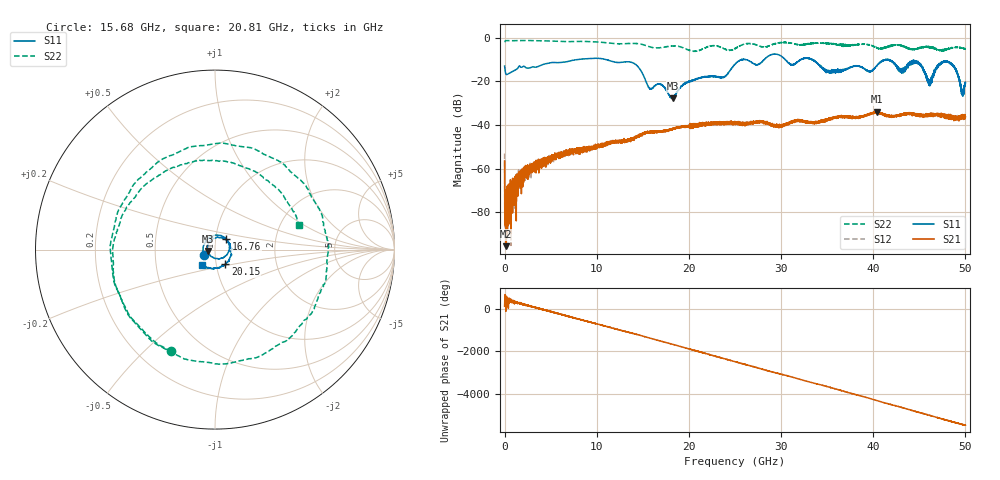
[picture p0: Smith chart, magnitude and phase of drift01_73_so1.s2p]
!Created with skrf (http://scikit-rf.org).
# Hz S RI R 50.0
!freq ReS11 ImS11 ReS21 ImS21 ReS12 ImS12 ReS22 ImS22
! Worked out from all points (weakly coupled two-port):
!   10001 points, 300 kHz to 50 GHz, reference 50 ohm
!   highest |S21| = -33.90 dB at 40.37 GHz (marker M1); lowest = -95.5 dB at 120.3 MHz (marker M2)
!   lowest |S11| = -27.9 dB at 18.26 GHz (marker M3), VSWR 1.08, Z = 46.2 - j0.766 ohm
!   |S11| at or under -10 dB: start of sweep to 8.054 GHz; 10.9 GHz to 25.87 GHz (14.97 GHz wide, 81.4 % of centre); 33.33 GHz to end of sweep (the widest 3 of 16)
!   |S22| runs from -6.4 to -1.4 dB; largest |S21 - S12| = 0.004
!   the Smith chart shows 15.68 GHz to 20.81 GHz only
!   S11 on the Smith chart (normalised r, x): 15.68 GHz: 0.88, -0.05; 16.76 GHz: 1.13, +0.13; 20.15 GHz: 1.11, -0.18; 20.81 GHz: 0.85, -0.15
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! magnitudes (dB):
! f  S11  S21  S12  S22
! 300 kHz  -13.1  -56.5  -53.1  -2.1
! 120.3 MHz  -16.6  -95.5  -81.1  -1.5
! 255.3 MHz  -16.9  -73.0  -71.6  -1.4
! 2.875 GHz  -13.7  -59.8  -60.7  -1.4
! 8.335 GHz  -9.9  -51.5  -51.9  -1.8
! 13.89 GHz  -11.5  -45.9  -46.7  -2.7
! 15.68 GHz  -23.1  -43.4  -43.6  -4.2
! 16.67 GHz  -21.2  -43.3  -42.9  -4.8
! 16.76 GHz  -21.3  -43.0  -43.2  -4.7
! 18.26 GHz  -27.9  -41.8  -41.8  -3.9
! 20.15 GHz  -20.0  -41.0  -40.7  -6.0
! 20.81 GHz  -18.9  -40.5  -40.8  -6.3
! 25 GHz  -12.2  -38.9  -39.1  -5.0
! 33.34 GHz  -10.1  -38.6  -39.2  -2.7
! 35.14 GHz  -15.6  -37.5  -37.7  -2.8
! 40.37 GHz  -12.9  -33.9  -34.4  -4.7
! 41.67 GHz  -10.1  -35.5  -35.9  -4.1
! 43.03 GHz  -15.2  -35.4  -35.5  -3.8
! 44.81 GHz  -11.2  -35.0  -35.6  -5.0
! 46.1 GHz  -21.0  -35.9  -35.0  -4.5
! 48.05 GHz  -11.1  -36.6  -36.7  -5.3
! 50 GHz  -21.0  -36.3  -36.5  -5.3
